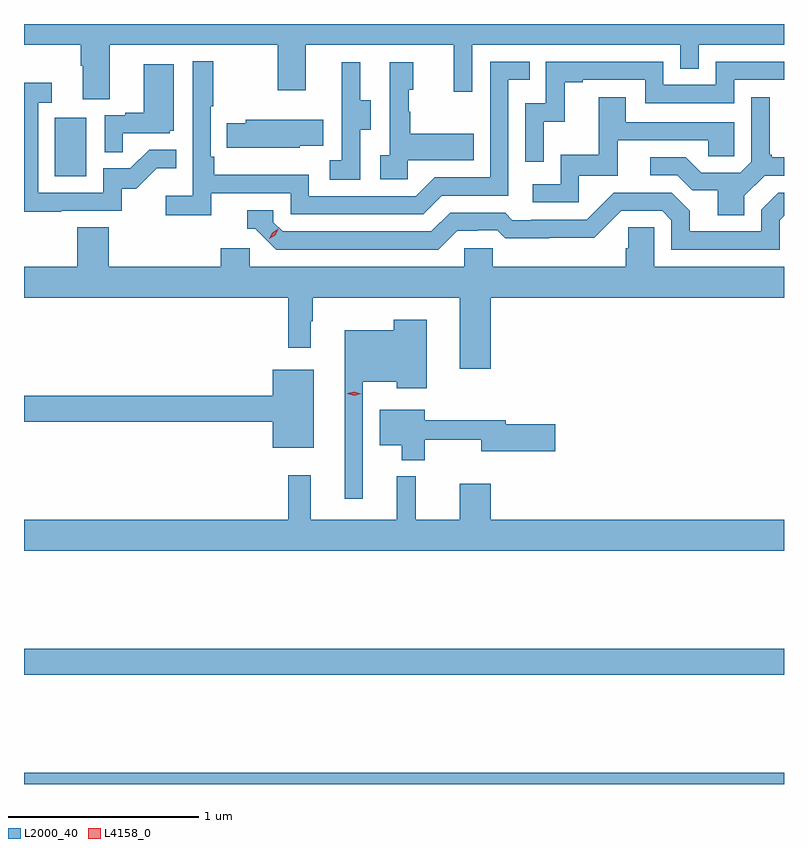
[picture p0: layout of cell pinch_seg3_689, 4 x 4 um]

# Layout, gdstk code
import gdstk
lib = gdstk.Library(unit=1e-6, precision=1e-09)
def R(c, l, rs):  # rectangles x0, y0, x1, y1
    for r in rs: c.add(gdstk.rectangle(r[:2], r[2:], *l))
def P(c, l, *ps):  # polygons
    for p in ps: c.add(gdstk.Polygon(p, *l))
L2000_40 = (2000, 40)
L4158_0 = (4158, 0)

pinch_seg3_689 = lib.new_cell('pinch_seg3_689')
R(pinch_seg3_689, L2000_40, [(1085.791,671.717,1089.791,671.776), (1085.791,672.292,1089.791,672.428), (1085.954,674.916,1086.118,675.223)])
P(pinch_seg3_689, L2000_40, [(1086.241,675.608),(1087.126,675.608),(1087.126,675.369),(1087.273,675.369),(1087.273,675.608),(1088.054,675.608),(1088.054,675.36),(1088.151,675.36),(1088.151,675.608),(1089.246,675.608),(1089.246,675.481),(1089.342,675.481),(1089.342,675.608),(1089.791,675.608),(1089.791,675.717),(1085.791,675.717),(1085.791,675.608),(1086.089,675.608),(1086.089,675.496),(1086.101,675.496),(1086.101,675.322),(1086.241,675.322)],
  [(1086.776,674.826),(1087.194,674.826),(1087.194,674.715),(1087.891,674.715),(1087.99,674.814),(1088.34,674.814),(1088.34,675.423),(1088.453,675.423),(1088.453,675.519),(1088.244,675.519),(1088.244,674.91),(1087.953,674.91),(1087.854,674.811),(1087.29,674.811),(1087.29,674.923),(1086.793,674.923),(1086.793,675.019),(1086.774,675.019),(1086.774,675.283),(1086.787,675.283),(1086.787,675.52),(1086.678,675.52),(1086.678,674.812),(1086.537,674.812),(1086.537,674.71),(1086.776,674.71)],
  [(1088.526,675.203),(1088.636,675.203),(1088.636,675.411),(1088.731,675.411),(1088.731,675.423),(1089.06,675.423),(1089.06,675.3),(1089.528,675.3),(1089.528,675.423),(1089.791,675.423),(1089.791,675.519),(1089.432,675.519),(1089.432,675.396),(1089.156,675.396),(1089.156,675.519),(1088.538,675.519),(1088.538,675.3),(1088.43,675.3),(1088.43,674.991),(1088.526,674.991)],
  [(1087.812,674.999),(1088.159,674.999),(1088.159,675.139),(1087.825,675.139),(1087.825,675.254),(1087.815,675.254),(1087.815,675.372),(1087.84,675.372),(1087.84,675.517),(1087.716,675.517),(1087.716,675.026),(1087.665,675.026),(1087.665,674.901),(1087.812,674.901)],
  [(1087.56,675.16),(1087.615,675.16),(1087.615,675.315),(1087.561,675.315),(1087.561,675.517),(1087.463,675.517),(1087.463,675.303),(1087.464,675.303),(1087.464,674.999),(1087.401,674.999),(1087.401,674.896),(1087.56,674.896)],
  [(1086.311,675.141),(1086.558,675.141),(1086.558,675.156),(1086.58,675.156),(1086.58,675.505),(1086.422,675.505),(1086.422,675.25),(1086.323,675.25),(1086.323,675.237),(1086.216,675.237),(1086.216,675.043),(1086.311,675.043)],
  [(1085.987,674.733),(1086.306,674.733),(1086.306,674.85),(1086.382,674.85),(1086.489,674.957),(1086.593,674.957),(1086.593,675.056),(1086.449,675.056),(1086.351,674.958),(1086.207,674.958),(1086.207,674.829),(1085.865,674.829),(1085.865,675.303),(1085.938,675.303),(1085.938,675.409),(1085.791,675.409),(1085.791,674.728),(1085.987,674.728)],
  [(1088.712,674.919),(1088.917,674.919),(1088.917,675.105),(1089.391,675.105),(1089.391,675.021),(1089.528,675.021),(1089.528,675.201),(1088.959,675.201),(1088.959,675.331),(1088.815,675.331),(1088.815,675.028),(1088.616,675.028),(1088.616,674.874),(1088.469,674.874),(1088.469,674.778),(1088.712,674.778)],
  [(1089.583,674.812),(1089.69,674.919),(1089.791,674.919),(1089.791,675.016),(1089.727,675.016),(1089.727,675.028),(1089.715,675.028),(1089.715,675.331),(1089.618,675.331),(1089.618,674.991),(1089.561,674.934),(1089.355,674.934),(1089.274,675.015),(1089.087,675.015),(1089.087,674.922),(1089.228,674.922),(1089.308,674.842),(1089.443,674.842),(1089.443,674.71),(1089.583,674.71)],
  [(1087.242,675.077),(1087.367,675.077),(1087.367,675.214),(1086.957,675.214),(1086.957,675.195),(1086.859,675.195),(1086.859,675.065),(1087.242,675.065)],
  [(1088.071,674.628),(1088.178,674.628),(1088.178,674.631),(1088.281,674.631),(1088.323,674.589),(1088.556,674.589),(1088.556,674.591),(1088.792,674.591),(1088.934,674.733),(1089.15,674.733),(1089.198,674.685),(1089.198,674.529),(1089.768,674.529),(1089.768,674.685),(1089.791,674.708),(1089.791,674.829),(1089.762,674.829),(1089.672,674.739),(1089.672,674.625),(1089.295,674.625),(1089.295,674.735),(1089.201,674.829),(1088.895,674.829),(1088.754,674.688),(1088.461,674.688),(1088.461,674.685),(1088.362,674.685),(1088.323,674.724),(1088.034,674.724),(1087.935,674.625),(1087.152,674.625),(1087.104,674.673),(1087.104,674.736),(1086.965,674.736),(1086.965,674.64),(1087.008,674.64),(1087.119,674.529),(1087.972,674.529)],
  [(1088.248,674.276),(1089.791,674.276),(1089.791,674.44),(1089.108,674.44),(1089.108,674.648),(1088.971,674.648),(1088.971,674.538),(1088.957,674.538),(1088.957,674.44),(1088.259,674.44),(1088.259,674.538),(1088.109,674.538),(1088.109,674.44),(1086.978,674.44),(1086.978,674.538),(1086.827,674.538),(1086.827,674.44),(1086.236,674.44),(1086.236,674.648),(1086.071,674.648),(1086.071,674.44),(1085.791,674.44),(1085.791,674.276),(1087.183,674.276),(1087.183,674.013),(1087.3,674.013),(1087.3,674.153),(1087.312,674.153),(1087.312,674.276),(1088.084,674.276),(1088.084,673.902),(1088.248,673.902)],
  [(1087.575,673.835),(1087.754,673.835),(1087.754,673.799),(1087.912,673.799),(1087.912,674.161),(1087.737,674.161),(1087.737,674.104),(1087.478,674.104),(1087.478,673.218),(1087.575,673.218)],
  [(1087.315,673.897),(1087.1,673.897),(1087.1,673.76),(1085.791,673.76),(1085.791,673.624),(1087.1,673.624),(1087.1,673.487),(1087.315,673.487)],
  [(1087.9,673.528),(1088.198,673.528),(1088.198,673.468),(1088.587,673.468),(1088.587,673.61),(1088.326,673.61),(1088.326,673.631),(1087.9,673.631),(1087.9,673.687),(1087.664,673.687),(1087.664,673.499),(1087.778,673.499),(1087.778,673.421),(1087.9,673.421)],
  [(1089.791,673.108),(1088.248,673.108),(1088.248,673.297),(1088.084,673.297),(1088.084,673.108),(1087.854,673.108),(1087.854,673.336),(1087.754,673.336),(1087.754,673.108),(1087.301,673.108),(1087.301,673.342),(1087.183,673.342),(1087.183,673.108),(1085.791,673.108),(1085.791,672.944),(1089.791,672.944)])
P(pinch_seg3_689, L4158_0, [(1087.529,673.761),(1087.494,673.772),(1087.493,673.772),(1087.494,673.773),(1087.529,673.781),(1087.564,673.77),(1087.565,673.77),(1087.564,673.77)],
  [(1087.082,674.586),(1087.082,674.586),(1087.098,674.619),(1087.128,674.639),(1087.128,674.639),(1087.128,674.639),(1087.113,674.606),(1087.082,674.586)])

lib.write_gds('pinch_seg3_689.gds')
